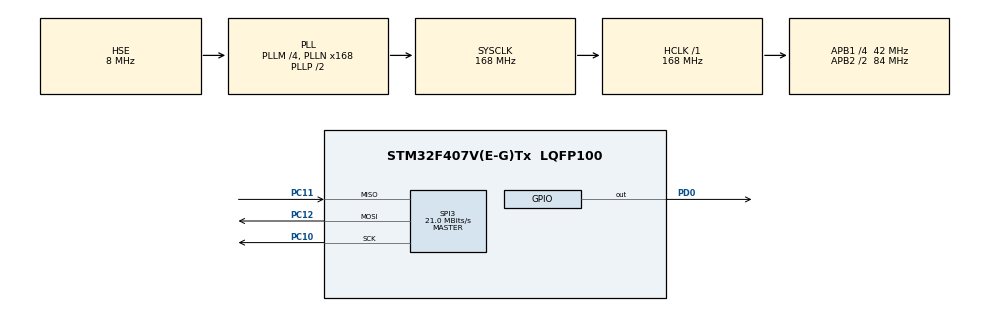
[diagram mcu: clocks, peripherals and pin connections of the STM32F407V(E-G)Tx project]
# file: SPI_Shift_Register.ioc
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Mcu.Family=STM32F4
Mcu.Name=STM32F407V(E-G)Tx
Mcu.Package=LQFP100
NVIC.PriorityGroup=NVIC_PRIORITYGROUP_4
PC10.Mode=Full_Duplex_Master
PC10.Signal=SPI3_SCK
PC11.Mode=Full_Duplex_Master
PC11.Signal=SPI3_MISO
PC12.Mode=Full_Duplex_Master
PC12.Signal=SPI3_MOSI
PD0.Signal=GPIO_Output
PH0-OSC_IN.Mode=HSE-External-Oscillator
PH0-OSC_IN.Signal=RCC_OSC_IN
PH1-OSC_OUT.Mode=HSE-External-Oscillator
PH1-OSC_OUT.Signal=RCC_OSC_OUT
ProjectManager.HeapSize=0x200
ProjectManager.StackSize=0x400
ProjectManager.TargetToolchain=STM32CubeIDE
RCC.48MHZClocksFreq_Value=84000000
RCC.AHBFreq_Value=168000000
RCC.APB1CLKDivider=RCC_HCLK_DIV4
RCC.APB1Freq_Value=42000000
RCC.APB1TimFreq_Value=84000000
RCC.APB2CLKDivider=RCC_HCLK_DIV2
RCC.APB2Freq_Value=84000000
RCC.APB2TimFreq_Value=168000000
RCC.CortexFreq_Value=168000000
RCC.HCLKFreq_Value=168000000
RCC.HSE_VALUE=8000000
RCC.HSI_VALUE=16000000
RCC.LSE_VALUE=32768
RCC.PLLM=4
RCC.PLLN=168
RCC.PLLSourceVirtual=RCC_PLLSOURCE_HSE
RCC.SYSCLKFreq_VALUE=168000000
RCC.SYSCLKSource=RCC_SYSCLKSOURCE_PLLCLK
RCC.VCOOutputFreq_Value=336000000
SPI3.BaudRatePrescaler=SPI_BAUDRATEPRESCALER_2
SPI3.CalculateBaudRate=21.0 MBits/s
SPI3.Direction=SPI_DIRECTION_2LINES
SPI3.Mode=SPI_MODE_MASTER
SPI3.VirtualType=VM_MASTER
board=custom

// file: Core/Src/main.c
/* USER CODE BEGIN Header */
/**
  ******************************************************************************
  * @file           : main.c
  * @brief          : Main program body
  ******************************************************************************
  * @attention
  *
  * Copyright (c) 2025 STMicroelectronics.
  * All rights reserved.
  *
  * This software is licensed under terms that can be found in the LICENSE file
  * in the root directory of this software component.
  * If no LICENSE file comes with this software, it is provided AS-IS.
  *
  ******************************************************************************
  */
/* USER CODE END Header */
#include "main.h"

/* USER CODE BEGIN PD */
#define CS_ACTIVE HAL_GPIO_WritePin(GPIOD, GPIO_PIN_0, GPIO_PIN_RESET)
#define CS_PASSIVE HAL_GPIO_WritePin(GPIOD, GPIO_PIN_0, GPIO_PIN_SET)
/* USER CODE END PD */

/* USER CODE BEGIN PM */
void CS_STROB()
{
	CS_ACTIVE;
	CS_PASSIVE;
}
/* USER CODE END PM */

SPI_HandleTypeDef hspi3;

/* USER CODE BEGIN PV */
uint8_t TxBuffer[1] = {0}; //Function in HAL cannot use bytes. Instead it requires an array.
/* USER CODE END PV */

void SystemClock_Config(void);
static void MX_GPIO_Init(void);
static void MX_SPI3_Init(void);

int main(void)
{

  /* USER CODE BEGIN 1 */
	uint8_t i = 0; //Variable for iteration
  /* USER CODE END 1 */

  /* MCU Configuration--------------------------------------------------------*/

  /* Reset of all peripherals, Initializes the Flash interface and the Systick. */
  HAL_Init();

  /* Configure the system clock */
  SystemClock_Config();

  /* Initialize all configured peripherals */
  MX_GPIO_Init();
  MX_SPI3_Init();
  /* USER CODE BEGIN 2 */
  CS_ACTIVE;
  TxBuffer[0] = 0x01;
  HAL_SPI_Transmit(&hspi3, TxBuffer, 1, 100);
  CS_STROB(); //Latch to display the output data
  HAL_Delay(1000);
  /* USER CODE END 2 */

  /* Infinite loop */
  /* USER CODE BEGIN WHILE */
  while (1)
  {
	  for (i = 0; i < 256; ++i)
	  {
		  TxBuffer[0] = i;
		  HAL_SPI_Transmit(&hspi3, TxBuffer, 1, 100);
		  CS_STROB();
		  HAL_Delay(100);
	  }
  }
    /* USER CODE END WHILE */

}

void SystemClock_Config(void)
{
  RCC_OscInitTypeDef RCC_OscInitStruct = {0};
  RCC_ClkInitTypeDef RCC_ClkInitStruct = {0};

  /** Configure the main internal regulator output voltage
  */
  __HAL_RCC_PWR_CLK_ENABLE();
  __HAL_PWR_VOLTAGESCALING_CONFIG(PWR_REGULATOR_VOLTAGE_SCALE1);

  /** Initializes the RCC Oscillators according to the specified parameters
  * in the RCC_OscInitTypeDef structure.
  */
  RCC_OscInitStruct.OscillatorType = RCC_OSCILLATORTYPE_HSE;
  RCC_OscInitStruct.HSEState = RCC_HSE_ON;
  RCC_OscInitStruct.PLL.PLLState = RCC_PLL_ON;
  RCC_OscInitStruct.PLL.PLLSource = RCC_PLLSOURCE_HSE;
  RCC_OscInitStruct.PLL.PLLM = 4;
  RCC_OscInitStruct.PLL.PLLN = 168;
  RCC_OscInitStruct.PLL.PLLP = RCC_PLLP_DIV2;
  RCC_OscInitStruct.PLL.PLLQ = 4;
  if (HAL_RCC_OscConfig(&RCC_OscInitStruct) != HAL_OK)
  {
    Error_Handler();
  }

  /** Initializes the CPU, AHB and APB buses clocks
  */
  RCC_ClkInitStruct.ClockType = RCC_CLOCKTYPE_HCLK|RCC_CLOCKTYPE_SYSCLK
                              |RCC_CLOCKTYPE_PCLK1|RCC_CLOCKTYPE_PCLK2;
  RCC_ClkInitStruct.SYSCLKSource = RCC_SYSCLKSOURCE_PLLCLK;
  RCC_ClkInitStruct.AHBCLKDivider = RCC_SYSCLK_DIV1;
  RCC_ClkInitStruct.APB1CLKDivider = RCC_HCLK_DIV4;
  RCC_ClkInitStruct.APB2CLKDivider = RCC_HCLK_DIV2;

  if (HAL_RCC_ClockConfig(&RCC_ClkInitStruct, FLASH_LATENCY_5) != HAL_OK)
  {
    Error_Handler();
  }
}

static void MX_SPI3_Init(void)
{

  /* SPI3 parameter configuration*/
  hspi3.Instance = SPI3;
  hspi3.Init.Mode = SPI_MODE_MASTER;
  hspi3.Init.Direction = SPI_DIRECTION_2LINES;
  hspi3.Init.DataSize = SPI_DATASIZE_8BIT;
  hspi3.Init.CLKPolarity = SPI_POLARITY_LOW;
  hspi3.Init.CLKPhase = SPI_PHASE_1EDGE;
  hspi3.Init.NSS = SPI_NSS_SOFT;
  hspi3.Init.BaudRatePrescaler = SPI_BAUDRATEPRESCALER_2;
  hspi3.Init.FirstBit = SPI_FIRSTBIT_MSB;
  hspi3.Init.TIMode = SPI_TIMODE_DISABLE;
  hspi3.Init.CRCCalculation = SPI_CRCCALCULATION_DISABLE;
  hspi3.Init.CRCPolynomial = 10;
  if (HAL_SPI_Init(&hspi3) != HAL_OK)
  {
    Error_Handler();
  }

}

static void MX_GPIO_Init(void)
{
  GPIO_InitTypeDef GPIO_InitStruct = {0};

  /* GPIO Ports Clock Enable */
  __HAL_RCC_GPIOH_CLK_ENABLE();
  __HAL_RCC_GPIOC_CLK_ENABLE();
  __HAL_RCC_GPIOD_CLK_ENABLE();

  /*Configure GPIO pin Output Level */
  HAL_GPIO_WritePin(GPIOD, GPIO_PIN_0, GPIO_PIN_RESET);

  /*Configure GPIO pin : PD0 */
  GPIO_InitStruct.Pin = GPIO_PIN_0;
  GPIO_InitStruct.Mode = GPIO_MODE_OUTPUT_PP;
  GPIO_InitStruct.Pull = GPIO_NOPULL;
  GPIO_InitStruct.Speed = GPIO_SPEED_FREQ_LOW;
  HAL_GPIO_Init(GPIOD, &GPIO_InitStruct);

}

void Error_Handler(void)
{
  __disable_irq();
  while (1)
  {
  }
}
